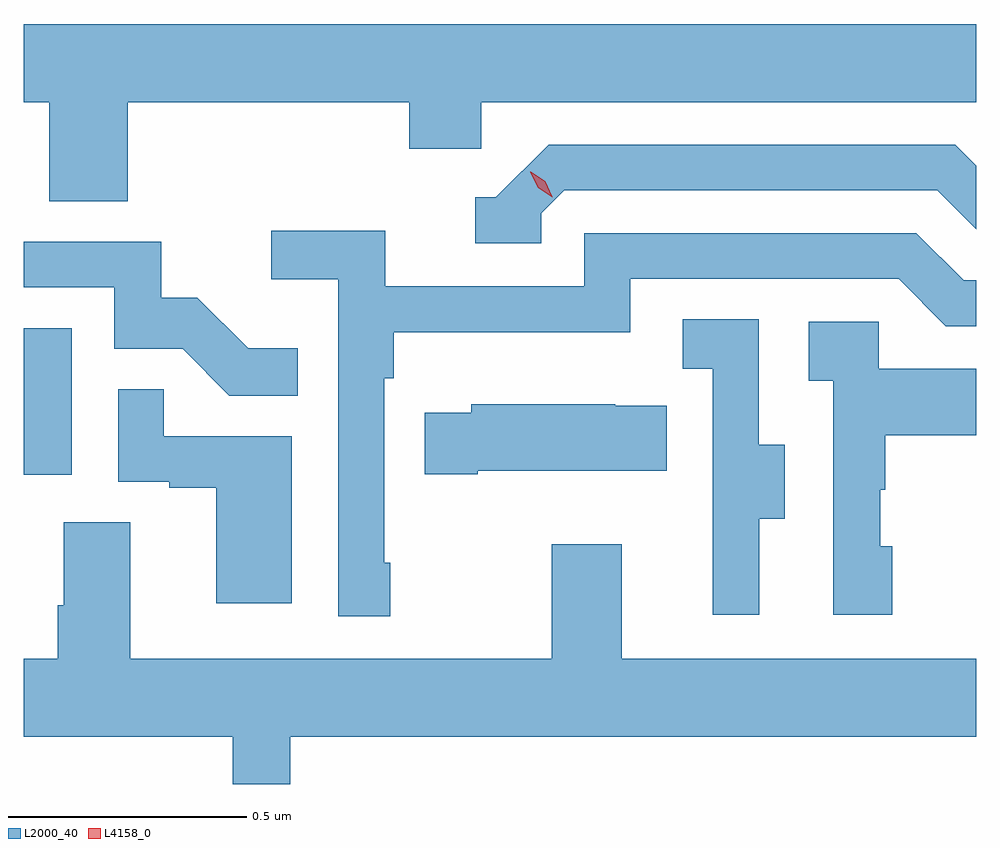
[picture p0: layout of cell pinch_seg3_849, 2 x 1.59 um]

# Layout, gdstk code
import gdstk
lib = gdstk.Library(unit=1e-6, precision=1e-09)
def R(c, l, rs):  # rectangles x0, y0, x1, y1
    for r in rs: c.add(gdstk.rectangle(r[:2], r[2:], *l))
def P(c, l, *ps):  # polygons
    for p in ps: c.add(gdstk.Polygon(p, *l))
L2000_40 = (2000, 40)
L4158_0 = (4158, 0)

pinch_seg3_849 = lib.new_cell('pinch_seg3_849')
R(pinch_seg3_849, L2000_40, [(840.929,710.79,841.03,711.097)])
P(pinch_seg3_849, L2000_40, [(841.148,711.572),(841.739,711.572),(841.739,711.474),(841.89,711.474),(841.89,711.572),(842.929,711.572),(842.929,711.736),(840.929,711.736),(840.929,711.572),(840.983,711.572),(840.983,711.364),(841.148,711.364)],
  [(842.016,711.339),(842.064,711.387),(842.847,711.387),(842.929,711.305),(842.929,711.438),(842.884,711.483),(842.031,711.483),(841.92,711.372),(841.877,711.372),(841.877,711.276),(842.016,711.276)],
  [(841.699,710.605),(841.686,710.605),(841.686,710.993),(841.706,710.993),(841.706,711.089),(842.202,711.089),(842.202,711.201),(842.766,711.201),(842.865,711.102),(842.929,711.102),(842.929,711.198),(842.902,711.198),(842.803,711.297),(842.106,711.297),(842.106,711.186),(841.688,711.186),(841.688,711.302),(841.449,711.302),(841.449,711.2),(841.59,711.2),(841.59,710.493),(841.699,710.493)],
  [(841.505,711.055),(841.401,711.055),(841.294,711.162),(841.218,711.162),(841.218,711.279),(840.929,711.279),(840.929,711.183),(841.119,711.183),(841.119,711.054),(841.263,711.054),(841.361,710.956),(841.505,710.956)],
  [(842.473,710.698),(842.527,710.698),(842.527,710.853),(842.472,710.853),(842.472,711.116),(842.313,711.116),(842.313,711.013),(842.376,711.013),(842.376,710.709),(842.375,710.709),(842.375,710.496),(842.473,710.496)],
  [(842.752,710.64),(842.727,710.64),(842.727,710.759),(842.737,710.759),(842.737,710.873),(842.929,710.873),(842.929,711.013),(842.724,711.013),(842.724,711.111),(842.577,711.111),(842.577,710.987),(842.628,710.987),(842.628,710.496),(842.752,710.496)],
  [(841.492,710.871),(841.223,710.871),(841.223,710.969),(841.128,710.969),(841.128,710.775),(841.235,710.775),(841.235,710.763),(841.334,710.763),(841.334,710.52),(841.492,710.52)],
  [(841.882,710.798),(842.279,710.798),(842.279,710.935),(842.171,710.935),(842.171,710.938),(841.869,710.938),(841.869,710.92),(841.771,710.92),(841.771,710.791),(841.882,710.791)],
  [(841.489,710.24),(842.929,710.24),(842.929,710.404),(842.185,710.404),(842.185,710.644),(842.038,710.644),(842.038,710.404),(841.153,710.404),(841.153,710.69),(841.013,710.69),(841.013,710.516),(841.001,710.516),(841.001,710.404),(840.929,710.404),(840.929,710.24),(841.368,710.24),(841.368,710.141),(841.489,710.141)])
P(pinch_seg3_849, L4158_0, [(842.039,711.372),(842.009,711.392),(841.993,711.425),(841.993,711.426),(841.994,711.426),(842.024,711.406),(842.039,711.373),(842.039,711.372)])

lib.write_gds('pinch_seg3_849.gds')
